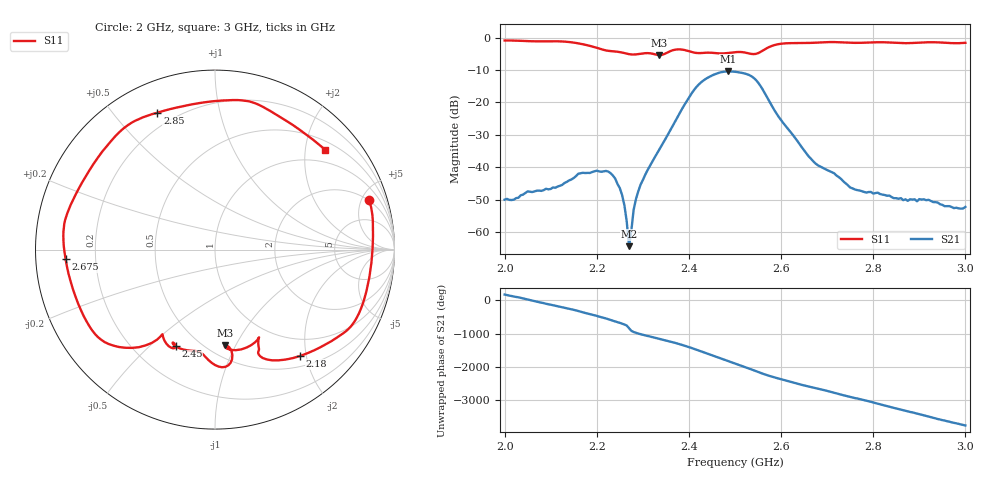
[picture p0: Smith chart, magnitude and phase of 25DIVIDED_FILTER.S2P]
!Agilent Technologies,E5071C,MY46107443,A.09.30
!Date: Wed Jun 12 17:41:48 2013
!Data & Calibration Information:
!Freq	S11:SOLT1(ON)	S21:NONE(--)	S12:NONE(--)	S22:NONE(--)
# Hz S dB R 50
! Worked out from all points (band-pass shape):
!   201 points, 2 GHz to 3 GHz, reference 50 ohm
!   highest |S21| = -10.44 dB at 2.485 GHz (marker M1); lowest = -64.4 dB at 2.27 GHz (marker M2)
!   |S21| within 3 dB of the highest: 2.43 GHz to 2.547 GHz (117.6 MHz wide, 4.73 % of centre)
!   lowest |S11| = -5.4 dB at 2.335 GHz (marker M3), VSWR 3.31, Z = 30.3 - j45.3 ohm
!   |S11| at or under -10 dB: nowhere
!   S12 and S22 are empty: the file has one direction only
!   S11 on the Smith chart (normalised r, x): 2 GHz: 1.95, +5.71; 2.18 GHz: 0.68, -1.89; 2.45 GHz: 0.37, -0.61; 2.675 GHz: 0.09, -0.03; 2.85 GHz: 0.14, +0.66; 3 GHz: 0.68, +2.43
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2e9  -0.91 17.9  -50.05 172.7  -200.00 0.0  -200.00 0.0
2.17e9  -2.07 -45.4  -41.75 -1.4  -200.00 0.0  -200.00 0.0
2.18e9  -2.39 -51.3  -41.78 -37.2  -200.00 0.0  -200.00 0.0
2.24e9  -4.30 -66.3  -43.54 85.2  -200.00 0.0  -200.00 0.0
2.26e9  -4.81 -65.2  -51.79 -5.8  -200.00 0.0  -200.00 0.0
2.27e9  -5.12 -64.1  -64.40 -116.1  -200.00 0.0  -200.00 0.0
2.29e9  -5.11 -64.7  -47.48 82.7  -200.00 0.0  -200.00 0.0
2.335e9  -5.42 -84.1  -34.73 -72.1  -200.00 0.0  -200.00 0.0
2.395e9  -4.00 -91.7  -19.71 57.8  -200.00 0.0  -200.00 0.0
2.43e9  -4.75 -103.2  -13.42 -110.2  -200.00 0.0  -200.00 0.0
2.45e9  -4.70 -112.2  -11.73 151.4  -200.00 0.0  -200.00 0.0
2.465e9  -4.89 -114.5  -10.89 77.8  -200.00 0.0  -200.00 0.0
2.485e9  -4.77 -112.5  -10.44 -21.1  -200.00 0.0  -200.00 0.0
2.5e9  -4.53 -112.4  -10.56 -94.9  -200.00 0.0  -200.00 0.0
2.515e9  -4.49 -115.7  -10.91 -168.9  -200.00 0.0  -200.00 0.0
2.535e9  -5.04 -121.3  -11.89 88.7  -200.00 0.0  -200.00 0.0
2.565e9  -3.62 -125.9  -17.25 -65.5  -200.00 0.0  -200.00 0.0
2.67e9  -1.62 -173.5  -38.23 -99.8  -200.00 0.0  -200.00 0.0
2.675e9  -1.58 -176.3  -38.92 -115.6  -200.00 0.0  -200.00 0.0
2.835e9  -1.52 118.7  -48.77 45.5  -200.00 0.0  -200.00 0.0
2.85e9  -1.64 112.8  -49.58 -6.2  -200.00 0.0  -200.00 0.0
3e9  -1.63 42.2  -52.28 -155.9  -200.00 0.0  -200.00 0.0
